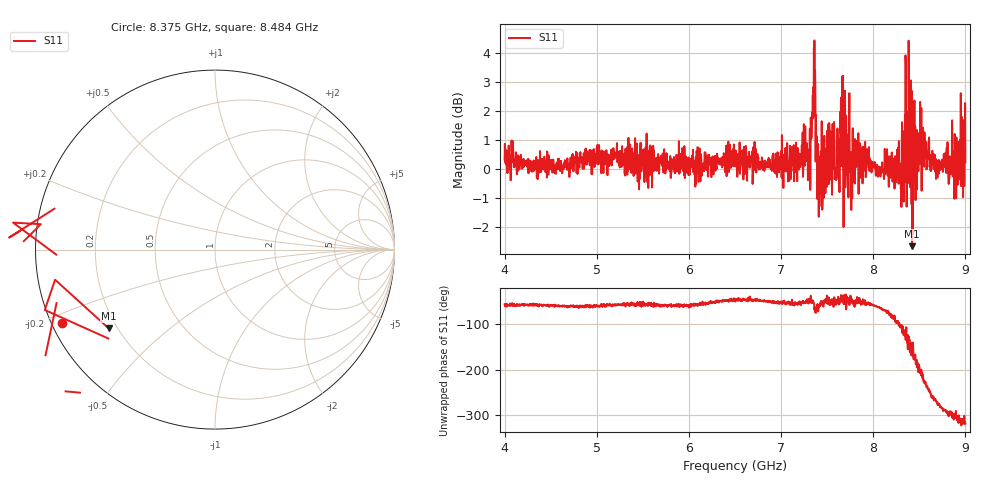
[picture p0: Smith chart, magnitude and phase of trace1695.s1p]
! Created with skrf 1.8.0 (http://scikit-rf.org).
# Hz S RI R 50.0
!freq ReS11 ImS11
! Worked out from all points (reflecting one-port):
!   1601 points, 4 GHz to 9 GHz, reference 50 ohm
!   lowest |S11| = -2.6 dB at 8.422 GHz (marker M1), VSWR 6.61, Z = 8.37 - j16.1 ohm
!   phase of S11 starts at -56 deg and turns -262 deg over the sweep
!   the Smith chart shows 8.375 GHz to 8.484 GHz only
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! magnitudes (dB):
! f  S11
! 4 GHz  0.3
! 4.625 GHz  -0.1
! 5.25 GHz  0.1
! 5.875 GHz  0.1
! 6.5 GHz  0.3
! 7.125 GHz  0.4
! 7.294 GHz  0.1
! 7.316 GHz  -0.7
! 7.347 GHz  1.9
! 7.362 GHz  4.4
! 7.397 GHz  -0.5
! 7.412 GHz  0.4
! 7.512 GHz  1.5
! 7.609 GHz  0.9
! 7.669 GHz  0.2
! 7.703 GHz  0.1
! 7.75 GHz  0.3
! 8.281 GHz  -0.5
! 8.316 GHz  0.8
! 8.334 GHz  0.6
! 8.375 GHz  -0.5
! 8.422 GHz  -2.6
! 8.441 GHz  2.2
! 8.459 GHz  -1.1
! 8.519 GHz  0.9
! 8.7 GHz  0.3
! 8.953 GHz  -0.6
! 9 GHz  0.2
